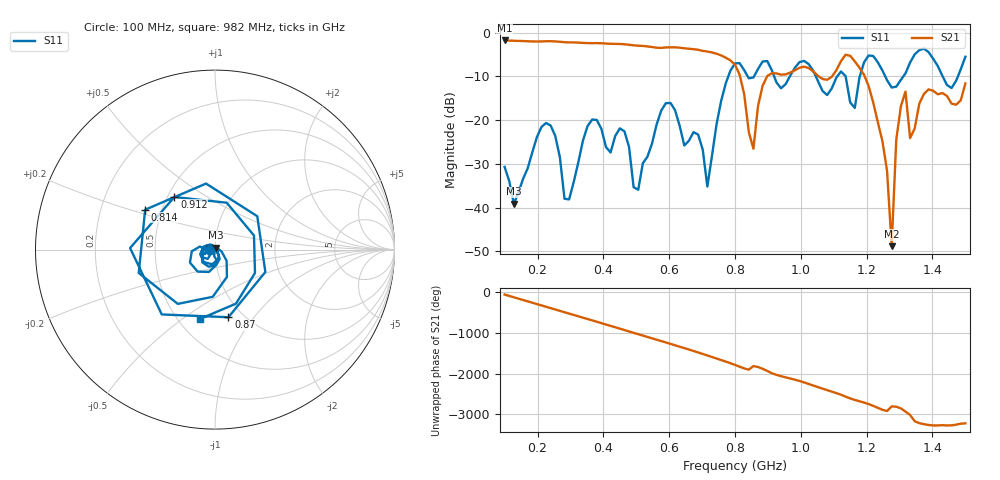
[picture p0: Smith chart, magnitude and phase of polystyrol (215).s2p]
! NanoVNA-App
! Date: 2025-09-25 15:31:34
! Start: 100MHz Stop: 1,5GHz Points: 101
! S-Parameter data: F S11 S21 S12 S22
# Hz S RI R 50
!  Frequency  S11_Real  S11_Imag  S21_Real  S21_Imag  S12_Real  S12_Imag  S22_Real  S22_Imag
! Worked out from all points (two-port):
!   101 points, 100 MHz to 1.5 GHz, reference 50 ohm
!   highest |S21| = -1.80 dB at 100 MHz (marker M1); lowest = -48.8 dB at 1.276 GHz (marker M2)
!   |S21| within 3 dB of the highest: start of sweep to 742.7 MHz
!   lowest |S11| = -39.1 dB at 128 MHz (marker M3), VSWR 1.02, Z = 50.3 + j1.06 ohm
!   |S11| at or under -10 dB: start of sweep to 779.7 MHz; 1.046 GHz to 1.111 GHz (65.34 MHz wide, 6.06 % of centre); 1.256 GHz to 1.312 GHz (55.18 MHz wide, 4.3 % of centre) (the widest 3 of 7)
!   S12 and S22 are empty: the file has one direction only
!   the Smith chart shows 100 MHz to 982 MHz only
!   S11 on the Smith chart (normalised r, x): 100 MHz: 0.94, -0.01; 814 MHz: 0.40, +0.22; 870 MHz: 0.85, -0.76; 912 MHz: 0.54, +0.37; 982 MHz: 0.63, -0.58
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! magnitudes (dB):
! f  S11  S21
! 100 MHz  -30.7  -1.8
! 128 MHz  -39.1  -1.9
! 212 MHz  -21.6  -2.0
! 282 MHz  -38.0  -2.2
! 338 MHz  -24.7  -2.4
! 506 MHz  -35.9  -3.0
! 576 MHz  -17.8  -3.5
! 716 MHz  -35.2  -4.3
! 800 MHz  -7.0  -7.3
! 814 MHz  -7.0  -9.6
! 856 MHz  -10.3  -26.5
! 870 MHz  -8.3  -16.7
! 912 MHz  -8.6  -9.3
! 982 MHz  -8.0  -8.6
! 1.038 GHz  -8.8  -8.9
! 1.192 GHz  -6.8  -9.6
! 1.248 GHz  -8.7  -24.9
! 1.276 GHz  -12.6  -48.8
! 1.29 GHz  -12.4  -24.5
! 1.318 GHz  -9.3  -13.5
! 1.332 GHz  -6.8  -24.1
! 1.5 GHz  -5.5  -11.6
